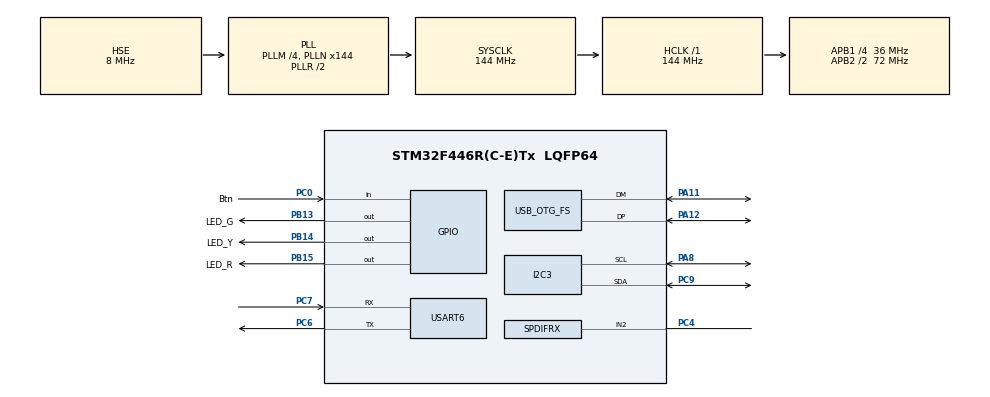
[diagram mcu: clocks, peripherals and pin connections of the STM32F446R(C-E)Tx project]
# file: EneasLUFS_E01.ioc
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Dma.Request0=SPDIF_RX_DT
Dma.SPDIF_RX_DT.0.Direction=DMA_PERIPH_TO_MEMORY
Dma.SPDIF_RX_DT.0.FIFOMode=DMA_FIFOMODE_DISABLE
Dma.SPDIF_RX_DT.0.Instance=DMA1_Stream1
Dma.SPDIF_RX_DT.0.MemDataAlignment=DMA_MDATAALIGN_WORD
Dma.SPDIF_RX_DT.0.MemInc=DMA_MINC_ENABLE
Dma.SPDIF_RX_DT.0.Mode=DMA_NORMAL
Dma.SPDIF_RX_DT.0.PeriphDataAlignment=DMA_PDATAALIGN_WORD
Dma.SPDIF_RX_DT.0.PeriphInc=DMA_PINC_DISABLE
Dma.SPDIF_RX_DT.0.Priority=DMA_PRIORITY_LOW
Mcu.Family=STM32F4
Mcu.Name=STM32F446R(C-E)Tx
Mcu.Package=LQFP64
NVIC.DMA1_Stream1_IRQn=true\:0\:0\:false\:false\:true\:false\:true\:true
NVIC.PriorityGroup=NVIC_PRIORITYGROUP_4
NVIC.SPDIF_RX_IRQn=true\:0\:0\:false\:false\:true\:true\:true\:true
PA11.Mode=Device_Only
PA11.Signal=USB_OTG_FS_DM
PA12.Mode=Device_Only
PA12.Signal=USB_OTG_FS_DP
PA8.Mode=I2C
PA8.Signal=I2C3_SCL
PB13.GPIO_Label=LED_G
PB13.Signal=GPIO_Output
PB14.GPIO_Label=LED_Y
PB14.Signal=GPIO_Output
PB15.GPIO_Label=LED_R
PB15.Signal=GPIO_Output
PC0.GPIO_Label=Btn
PC0.Signal=GPIO_Input
PC4.Mode=IN2
PC4.Signal=SPDIFRX_IN2
PC6.Mode=Asynchronous
PC6.Signal=USART6_TX
PC7.Mode=Asynchronous
PC7.Signal=USART6_RX
PC9.Mode=I2C
PC9.Signal=I2C3_SDA
PH0-OSC_IN.Mode=HSE-External-Oscillator
PH0-OSC_IN.Signal=RCC_OSC_IN
PH1-OSC_OUT.Mode=HSE-External-Oscillator
PH1-OSC_OUT.Signal=RCC_OSC_OUT
ProjectManager.HeapSize=0x200
ProjectManager.StackSize=0x400
ProjectManager.TargetToolchain=STM32CubeIDE
RCC.AHBFreq_Value=144000000
RCC.APB1CLKDivider=RCC_HCLK_DIV4
RCC.APB1Freq_Value=36000000
RCC.APB1TimFreq_Value=72000000
RCC.APB2CLKDivider=RCC_HCLK_DIV2
RCC.APB2Freq_Value=72000000
RCC.APB2TimFreq_Value=144000000
RCC.CortexFreq_Value=144000000
RCC.HCLKFreq_Value=144000000
RCC.HSE_VALUE=8000000
RCC.PLLM=4
RCC.PLLN=144
RCC.PLLQ=6
RCC.PLLSourceVirtual=RCC_PLLSOURCE_HSE
RCC.SYSCLKFreq_VALUE=144000000
RCC.SYSCLKSource=RCC_SYSCLKSOURCE_PLLRCLK
RCC.USBFreq_Value=48000000
RCC.VCOOutputFreq_Value=288000000
SPDIFRX.ChannelStatusMask=SPDIFRX_CHANNELSTATUS_ON
SPDIFRX.DataFormat=SPDIFRX_DATAFORMAT_MSB
SPDIFRX.ParityErrorMask=SPDIFRX_PARITYERRORMASK_ON
SPDIFRX.PreambleTypeMask=SPDIFRX_PREAMBLETYPEMASK_ON
SPDIFRX.Retries=SPDIFRX_MAXRETRIES_15
SPDIFRX.StereoMode=SPDIFRX_STEREOMODE_DISABLE
SPDIFRX.ValidityBitMask=SPDIFRX_VALIDITYMASK_ON
SPDIFRX.WaitForActivity=SPDIFRX_WAITFORACTIVITY_OFF
USART6.VirtualMode=VM_ASYNC
USB_OTG_FS.VirtualMode=Device_Only
board=custom

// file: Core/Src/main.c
/* USER CODE BEGIN Header */
/**
 ******************************************************************************
 * @file           : main.c
 * @brief          : Main program body
 ******************************************************************************
 * @attention
 *
 * Copyright (c) 2024 STMicroelectronics.
 * All rights reserved.
 *
 * This software is licensed under terms that can be found in the LICENSE file
 * in the root directory of this software component.
 * If no LICENSE file comes with this software, it is provided AS-IS.
 *
 ******************************************************************************
 */
/* USER CODE END Header */
#include "main.h"

/* USER CODE BEGIN Includes */
#include "i2clcd.h"
#include "stdio.h"
#include "stdbool.h"
#include "lcd16x2_i2c_proxy.h"
#include "math.h"
#include "stdlib.h"
/* USER CODE END Includes */

/* USER CODE BEGIN PD */

#define PROC_BLOCK_SZ 13230
#define BLK_AMOUNT 1
#define SILENCE -70
#define IGNORE_OFFSET 10

/* USER CODE END PD */

I2C_HandleTypeDef hi2c3;

SPDIFRX_HandleTypeDef hspdif;
DMA_HandleTypeDef hdma_spdif_rx_dt;

UART_HandleTypeDef huart6;

/* USER CODE BEGIN PV */

const uint8_t MlcdPos[4][20] = { { 0x00, 0x01, 0x02, 0x03, 0x04, 0x05, 0x06,
		0x07, 0x08, 0x09, 0x0A, 0x0B, 0x0C, 0x0D, 0x0E, 0x0F, 0x10, 0x11, 0x12,
		0x13 }, { 0x40, 0x41, 0x42, 0x43, 0x44, 0x45, 0x46, 0x47, 0x48, 0x49,
		0x4A, 0x4B, 0x4C, 0x4D, 0x4E, 0x4F, 0x50, 0x51, 0x52, 0x53 }, { 0x14,
		0x15, 0x16, 0x17, 0x18, 0x19, 0x1A, 0x1B, 0x1C, 0x1D, 0x1E, 0x1F, 0x20,
		0x21, 0x22, 0x23, 0x24, 0x25, 0x26, 0x27 }, { 0x54, 0x55, 0x56, 0x57,
		0x58, 0x59, 0x5A, 0x5B, 0x5C, 0x5D, 0x5E, 0x5F, 0x60, 0x61, 0x62, 0x63,
		0x64, 0x65, 0x66, 0x67 } };

int32_t buffer[2][PROC_BLOCK_SZ * BLK_AMOUNT] = { 0 };
uint8_t bufferIndex = 0;
uint32_t maxPeakSample = 0;
float maxPeak = 0;
uint32_t overs = 0;
float momentary = 0;
float maxMomentary = 0;
float integrated = 0;
uint32_t bufferCtr = 0;
uint32_t test = 0;

char dB0[32];
char dB1[32];
char dB2[32];
char dB3[32];

/* USER CODE END PV */

void SystemClock_Config(void);
static void MX_GPIO_Init(void);
static void MX_DMA_Init(void);
static void MX_I2C3_Init(void);
static void MX_USART6_UART_Init(void);
static void MX_SPDIFRX_Init(void);
/* USER CODE BEGIN PFP */
/*void HAL_SPDIFRX_RxCpltCallback(SPDIFRX_HandleTypeDef *hspdif) {
 HAL_Delay(50);
 //snprintf(dB3,20,"%u",test);
 //lcd_write(dB3, 0, 0);
 for (int i = 0; i < 20; ++i) {
 HAL_GPIO_TogglePin(LED_G_GPIO_Port, LED_G_Pin);
 HAL_Delay(2000);
 }
 return;
 }*/

//void HAL_SPDIFRX_RxCpltCallback(SPDIFRX_HandleTypeDef *hspdif) {
//	uint32_t oldBuff = bufferIndex; //net gelezen buffernummer opslaan
//	bufferIndex = 1 - bufferIndex; //wordt 1 als 0 is en vice versa
//	uint32_t buffsize = PROC_BLOCK_SZ * BLK_AMOUNT;
//
//	//berekeningen maken op net gelezen buffer
//	bufferCtr++;
//	static uint32_t square = 0;
//	static uint32_t accumulated_squares = 0;
//	static int32_t currentSample;
//	for (int i = 0; i < (buffsize); ++i) {
//		//currentSample = ((buffer[oldBuff][i] & 0xFFFF)
//			//	+ ((buffer[oldBuff][i] & 0xFFFF0000) >> 16) / 2);
//		currentSample = buffer[oldBuff][i];
//		if (currentSample <= 32766 || currentSample >= -32767) {
//			overs++;
//		}
//		if (abs(currentSample) > maxPeakSample) {
//			maxPeakSample = currentSample;
//			maxPeak = (float) (20 * log10((abs(currentSample) / 32768)));
//		}
//
//		square += currentSample * currentSample;
//	}
//	//if (!(bufferCtr % 3)) {
//		float RMS = sqrt(((float) square) / ((float) (buffsize))); //SQRT van de mean van de som vd squares => RMS
//		//accumulated_squares = square; //100ms overlap
//		square = 0;
//		float dBRMS = 20 * log10(RMS / 32768); //omzetten naar decibels
//		momentary = dBRMS;
//		if (momentary > maxMomentary) {
//			maxMomentary = momentary;
//		}
//		integrated = (((((bufferCtr / 3) - 1) * integrated) + dBRMS)
//				/ (bufferCtr / 3)); //cumulatief gemiddelde
//	/*} else {
//		accumulated_squares += square;
//		square = 0;
//	}*/
//	return;
//}
void HAL_SPDIFRX_RxCpltCallback(SPDIFRX_HandleTypeDef *hspdif) { //callback volle SPDIF buffer
	uint32_t oldBuff = bufferIndex; //net gelezen buffernummer opslaan
	bufferIndex = 1 - bufferIndex; //wordt 1 als 0 is en vice versa
	uint32_t buffsize = PROC_BLOCK_SZ * BLK_AMOUNT;
	float currentSample = 0;
	float square;
	HAL_SPDIFRX_ReceiveDataFlow_IT(hspdif, (uint32_t*) &buffer[bufferIndex][0],
	PROC_BLOCK_SZ); //verder data lezen naar andere buffer
	for (int j = 0; j < PROC_BLOCK_SZ; ++j) {
		currentSample = (int16_t)(buffer[oldBuff][j] >>16);
		square += currentSample * currentSample;

	}
	float RMS = sqrt(((float) square) / ((float) (buffsize))); //SQRT van de mean van de som vd squares => RMS
	square = 0;
	float dBRMS = 20 * log10(RMS / 32768); //omzetten naar decibels
	momentary = dBRMS;
	bufferCtr++;
	return;
}

/* USER CODE END PFP */

int main(void)
{

  /* MCU Configuration--------------------------------------------------------*/

  /* Reset of all peripherals, Initializes the Flash interface and the Systick. */
  HAL_Init();

  /* Configure the system clock */
  SystemClock_Config();

  /* Initialize all configured peripherals */
  MX_GPIO_Init();
  MX_DMA_Init();
  MX_I2C3_Init();
  MX_USART6_UART_Init();
  MX_SPDIFRX_Init();
  /* USER CODE BEGIN 2 */

	char dB0_Blank[] = "Momentary:    ";
	char dB1_Blank[] = "Short Term:   ";
	char dB2_Blank[] = "Integrated:   ";
	char dB3_Blank[] = "Overs: ";

	lcd16x2_i2c_proxy_initialize(&hi2c3, 0, 0);
	lcd16x2_i2c_proxy_turnDisplayOn();
	lcd_write(dB0_Blank, 0, 0);
	lcd_write(dB1_Blank, 1, 0);
	lcd_write(dB2_Blank, 2, 0);
	lcd_write(dB3_Blank, 3, 0);

	HAL_SPDIFRX_ReceiveDataFlow_IT(&hspdif, (uint32_t*)&buffer[0][0], PROC_BLOCK_SZ);

  /* USER CODE END 2 */

  /* Infinite loop */
	while (1) {

    /* USER CODE BEGIN 3 */
		//calcul();
		//HAL_SPDIFRX_ReceiveDataFlow_IT(&hspdif, buffer[bufferIndex],1); //verder data lezen naar andere buffer
		snprintf(dB0, 20, "%s%3.1f", dB0_Blank, momentary);
		snprintf(dB1, 20, "%s%3.1f", dB1_Blank, maxMomentary);
		snprintf(dB2, 20, "%s%3.1f", dB2_Blank, integrated);
		snprintf(dB3, 20, "%s%d", dB3_Blank, (int16_t)((buffer[0][0])>>16));
		lcd_write(dB0, 0, 0);
		//lcd_write(dB1, 1, 0);
		//lcd_write(dB2, 2, 0);
		lcd_write(dB3, 3, 0);
		HAL_Delay(200);
		/*if (!HAL_GPIO_ReadPin(Btn_GPIO_Port, Btn_Pin)) {
		 maxPeakSample = 0;
		 maxPeak = 0;
		 overs = 0;
		 momentary = 0;
		 maxMomentary = 0;
		 integrated = 0;
		 bufferCtr = 0;
		 }*/
		//HAL_GPIO_TogglePin(LED_G_GPIO_Port, LED_G_Pin);
	}
  /* USER CODE END 3 */
}

void SystemClock_Config(void)
{
  RCC_OscInitTypeDef RCC_OscInitStruct = {0};
  RCC_ClkInitTypeDef RCC_ClkInitStruct = {0};

  /** Configure the main internal regulator output voltage
  */
  __HAL_RCC_PWR_CLK_ENABLE();
  __HAL_PWR_VOLTAGESCALING_CONFIG(PWR_REGULATOR_VOLTAGE_SCALE1);

  /** Initializes the RCC Oscillators according to the specified parameters
  * in the RCC_OscInitTypeDef structure.
  */
  RCC_OscInitStruct.OscillatorType = RCC_OSCILLATORTYPE_HSE;
  RCC_OscInitStruct.HSEState = RCC_HSE_ON;
  RCC_OscInitStruct.PLL.PLLState = RCC_PLL_ON;
  RCC_OscInitStruct.PLL.PLLSource = RCC_PLLSOURCE_HSE;
  RCC_OscInitStruct.PLL.PLLM = 4;
  RCC_OscInitStruct.PLL.PLLN = 144;
  RCC_OscInitStruct.PLL.PLLP = RCC_PLLP_DIV2;
  RCC_OscInitStruct.PLL.PLLQ = 6;
  RCC_OscInitStruct.PLL.PLLR = 2;
  if (HAL_RCC_OscConfig(&RCC_OscInitStruct) != HAL_OK)
  {
    Error_Handler();
  }

  /** Initializes the CPU, AHB and APB buses clocks
  */
  RCC_ClkInitStruct.ClockType = RCC_CLOCKTYPE_HCLK|RCC_CLOCKTYPE_SYSCLK
                              |RCC_CLOCKTYPE_PCLK1|RCC_CLOCKTYPE_PCLK2;
  RCC_ClkInitStruct.SYSCLKSource = RCC_SYSCLKSOURCE_PLLRCLK;
  RCC_ClkInitStruct.AHBCLKDivider = RCC_SYSCLK_DIV1;
  RCC_ClkInitStruct.APB1CLKDivider = RCC_HCLK_DIV4;
  RCC_ClkInitStruct.APB2CLKDivider = RCC_HCLK_DIV2;

  if (HAL_RCC_ClockConfig(&RCC_ClkInitStruct, FLASH_LATENCY_4) != HAL_OK)
  {
    Error_Handler();
  }
}

static void MX_I2C3_Init(void)
{

  hi2c3.Instance = I2C3;
  hi2c3.Init.ClockSpeed = 100000;
  hi2c3.Init.DutyCycle = I2C_DUTYCYCLE_2;
  hi2c3.Init.OwnAddress1 = 0;
  hi2c3.Init.AddressingMode = I2C_ADDRESSINGMODE_7BIT;
  hi2c3.Init.DualAddressMode = I2C_DUALADDRESS_DISABLE;
  hi2c3.Init.OwnAddress2 = 0;
  hi2c3.Init.GeneralCallMode = I2C_GENERALCALL_DISABLE;
  hi2c3.Init.NoStretchMode = I2C_NOSTRETCH_DISABLE;
  if (HAL_I2C_Init(&hi2c3) != HAL_OK)
  {
    Error_Handler();
  }

}

static void MX_SPDIFRX_Init(void)
{

  hspdif.Instance = SPDIFRX;
  hspdif.Init.InputSelection = SPDIFRX_INPUT_IN2;
  hspdif.Init.Retries = SPDIFRX_MAXRETRIES_15;
  hspdif.Init.WaitForActivity = SPDIFRX_WAITFORACTIVITY_OFF;
  hspdif.Init.ChannelSelection = SPDIFRX_CHANNEL_A;
  hspdif.Init.DataFormat = SPDIFRX_DATAFORMAT_MSB;
  hspdif.Init.StereoMode = SPDIFRX_STEREOMODE_DISABLE;
  hspdif.Init.PreambleTypeMask = SPDIFRX_PREAMBLETYPEMASK_ON;
  hspdif.Init.ChannelStatusMask = SPDIFRX_CHANNELSTATUS_ON;
  hspdif.Init.ValidityBitMask = SPDIFRX_VALIDITYMASK_ON;
  hspdif.Init.ParityErrorMask = SPDIFRX_PARITYERRORMASK_ON;
  if (HAL_SPDIFRX_Init(&hspdif) != HAL_OK)
  {
    Error_Handler();
  }

}

static void MX_USART6_UART_Init(void)
{

  huart6.Instance = USART6;
  huart6.Init.BaudRate = 115200;
  huart6.Init.WordLength = UART_WORDLENGTH_8B;
  huart6.Init.StopBits = UART_STOPBITS_1;
  huart6.Init.Parity = UART_PARITY_NONE;
  huart6.Init.Mode = UART_MODE_TX_RX;
  huart6.Init.HwFlowCtl = UART_HWCONTROL_NONE;
  huart6.Init.OverSampling = UART_OVERSAMPLING_16;
  if (HAL_UART_Init(&huart6) != HAL_OK)
  {
    Error_Handler();
  }

}

static void MX_DMA_Init(void)
{

  /* DMA controller clock enable */
  __HAL_RCC_DMA1_CLK_ENABLE();

  /* DMA interrupt init */
  /* DMA1_Stream1_IRQn interrupt configuration */
  HAL_NVIC_SetPriority(DMA1_Stream1_IRQn, 0, 0);
  HAL_NVIC_EnableIRQ(DMA1_Stream1_IRQn);

}

static void MX_GPIO_Init(void)
{
  GPIO_InitTypeDef GPIO_InitStruct = {0};

  /* GPIO Ports Clock Enable */
  __HAL_RCC_GPIOH_CLK_ENABLE();
  __HAL_RCC_GPIOC_CLK_ENABLE();
  __HAL_RCC_GPIOB_CLK_ENABLE();
  __HAL_RCC_GPIOA_CLK_ENABLE();

  /*Configure GPIO pin Output Level */
  HAL_GPIO_WritePin(GPIOB, LED_G_Pin|LED_Y_Pin|LED_R_Pin, GPIO_PIN_RESET);

  /*Configure GPIO pin : Btn_Pin */
  GPIO_InitStruct.Pin = Btn_Pin;
  GPIO_InitStruct.Mode = GPIO_MODE_INPUT;
  GPIO_InitStruct.Pull = GPIO_NOPULL;
  HAL_GPIO_Init(Btn_GPIO_Port, &GPIO_InitStruct);

  /*Configure GPIO pins : LED_G_Pin LED_Y_Pin LED_R_Pin */
  GPIO_InitStruct.Pin = LED_G_Pin|LED_Y_Pin|LED_R_Pin;
  GPIO_InitStruct.Mode = GPIO_MODE_OUTPUT_PP;
  GPIO_InitStruct.Pull = GPIO_NOPULL;
  GPIO_InitStruct.Speed = GPIO_SPEED_FREQ_LOW;
  HAL_GPIO_Init(GPIOB, &GPIO_InitStruct);

}

void Error_Handler(void)
{
	__disable_irq();
	while (1) {
	}
}
